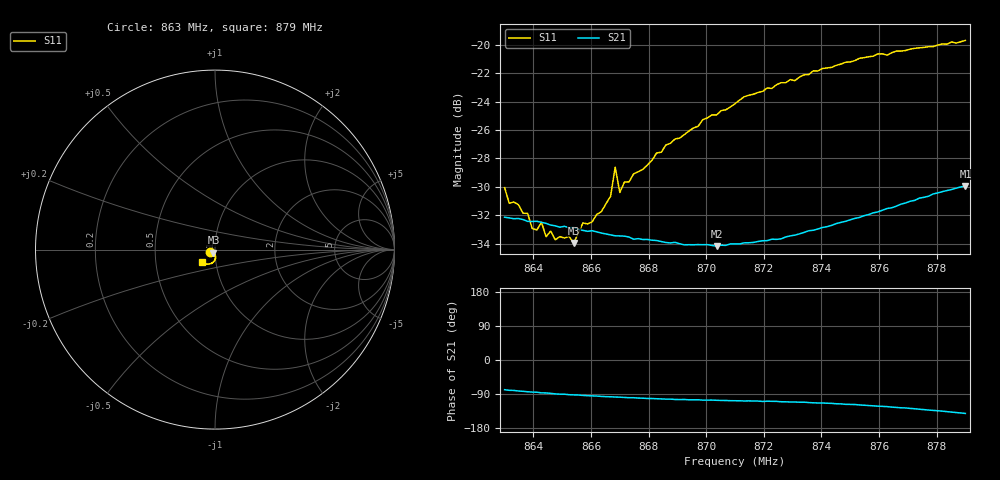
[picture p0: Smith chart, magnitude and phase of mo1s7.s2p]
# HZ S RI R 50
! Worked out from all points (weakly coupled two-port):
!   101 points, 863 MHz to 879 MHz, reference 50 ohm
!   highest |S21| = -29.93 dB at 879 MHz (marker M1); lowest = -34.2 dB at 870.36 MHz (marker M2)
!   lowest |S11| = -33.9 dB at 865.4 MHz (marker M3), VSWR 1.04, Z = 49.1 - j1.77 ohm
!   |S11| at or under -10 dB: start of sweep to end of sweep
!   S12 and S22 are empty: the file has one direction only
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8.63e8  -0.0278 -0.0147  0.00498 -0.0242  0 0  0 0
8.6316e8  -0.0246 -0.0127  0.00426 -0.0242  0 0  0 0
8.638e8  -0.0212 -0.0141  0.00258 -0.0238  0 0  0 0
8.6396e8  -0.0185 -0.013  0.0022 -0.0238  0 0  0 0
8.6428e8  -0.0171 -0.0165  0.00136 -0.0237  0 0  0 0
8.6444e8  -0.0146 -0.0153  0.00126 -0.0235  0 0  0 0
8.646e8  -0.0141 -0.0171  0.000796 -0.0232  0 0  0 0
8.6476e8  -0.0119 -0.0168  0.000241 -0.0231  0 0  0 0
8.6524e8  -0.00917 -0.0191  -0.000637 -0.0227  0 0  0 0
8.654e8  -0.00891 -0.018  -0.000838 -0.0228  0 0  0 0
8.6572e8  -0.00513 -0.0231  -0.00137 -0.0222  0 0  0 0
8.6604e8  -0.00331 -0.0236  -0.00182 -0.0221  0 0  0 0
8.6668e8  -0.000974 -0.0293  -0.00263 -0.0213  0 0  0 0
8.6684e8  -0.00537 -0.0367  -0.00286 -0.0211  0 0  0 0
8.67e8  0.000324 -0.0302  -0.00298 -0.0211  0 0  0 0
8.6716e8  0.000828 -0.0329  -0.00327 -0.021  0 0  0 0
8.6844e8  0.00389 -0.0417  -0.00445 -0.0198  0 0  0 0
8.7036e8  -0.000436 -0.0566  -0.0055 -0.0188  0 0  0 0
8.71e8  -0.00335 -0.0619  -0.006 -0.019  0 0  0 0
8.7372e8  -0.0214 -0.0781  -0.00871 -0.0205  0 0  0 0
8.7644e8  -0.0486 -0.0801  -0.0151 -0.0221  0 0  0 0
8.79e8  -0.0749 -0.0714  -0.0248 -0.02  0 0  0 0
